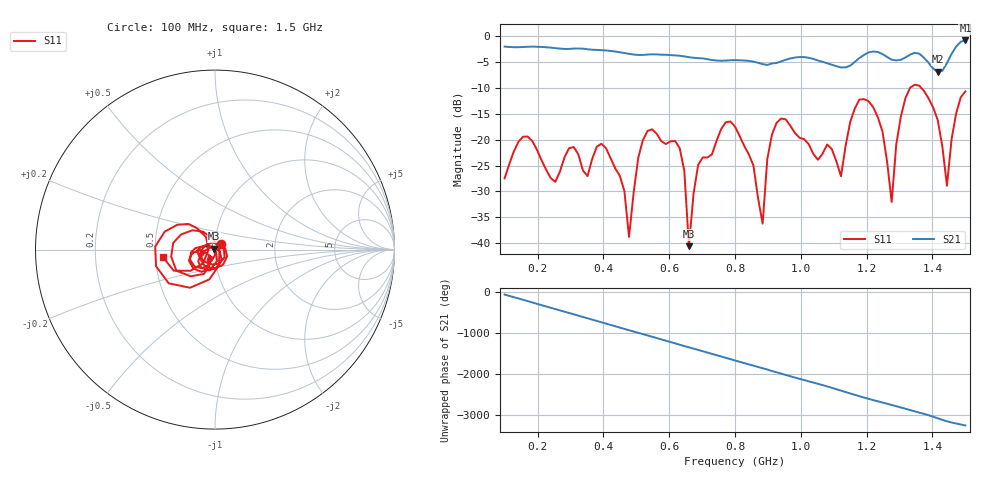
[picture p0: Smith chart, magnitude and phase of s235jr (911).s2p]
! NanoVNA-App
! Date: 2025-09-25 15:11:15
! Start: 100MHz Stop: 1,5GHz Points: 101
! S-Parameter data: F S11 S21 S12 S22
# Hz S RI R 50
!  Frequency  S11_Real  S11_Imag  S21_Real  S21_Imag  S12_Real  S12_Imag  S22_Real  S22_Imag
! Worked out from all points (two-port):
!   101 points, 100 MHz to 1.5 GHz, reference 50 ohm
!   highest |S21| = -0.78 dB at 1.5 GHz (marker M1); lowest = -6.8 dB at 1.416 GHz (marker M2)
!   |S21| within 3 dB of the highest: start of sweep to 636.6 MHz; 1.187 GHz to 1.257 GHz (69.99 MHz wide, 5.73 % of centre) (the widest 2 of 4)
!   lowest |S11| = -40.6 dB at 660 MHz (marker M3), VSWR 1.02, Z = 49.3 + j0.552 ohm
!   |S11| at or under -10 dB: start of sweep to 1.331 GHz; 1.367 GHz to end of sweep
!   S12 and S22 are empty: the file has one direction only
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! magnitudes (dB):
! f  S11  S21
! 100 MHz  -27.5  -2.0
! 156 MHz  -19.4  -2.0
! 338 MHz  -25.9  -2.4
! 408 MHz  -21.6  -2.7
! 478 MHz  -38.8  -3.4
! 520 MHz  -20.1  -3.6
! 576 MHz  -20.3  -3.5
! 632 MHz  -21.6  -3.7
! 660 MHz  -40.6  -4.0
! 688 MHz  -24.9  -4.2
! 800 MHz  -17.4  -4.6
! 884 MHz  -36.2  -5.4
! 898 MHz  -23.8  -5.5
! 926 MHz  -16.8  -5.1
! 1.038 GHz  -22.7  -4.4
! 1.122 GHz  -27.1  -6.0
! 1.206 GHz  -12.5  -3.1
! 1.276 GHz  -32.0  -4.5
! 1.332 GHz  -9.9  -3.5
! 1.416 GHz  -16.2  -6.8
! 1.444 GHz  -28.9  -5.2
! 1.5 GHz  -10.6  -0.8
